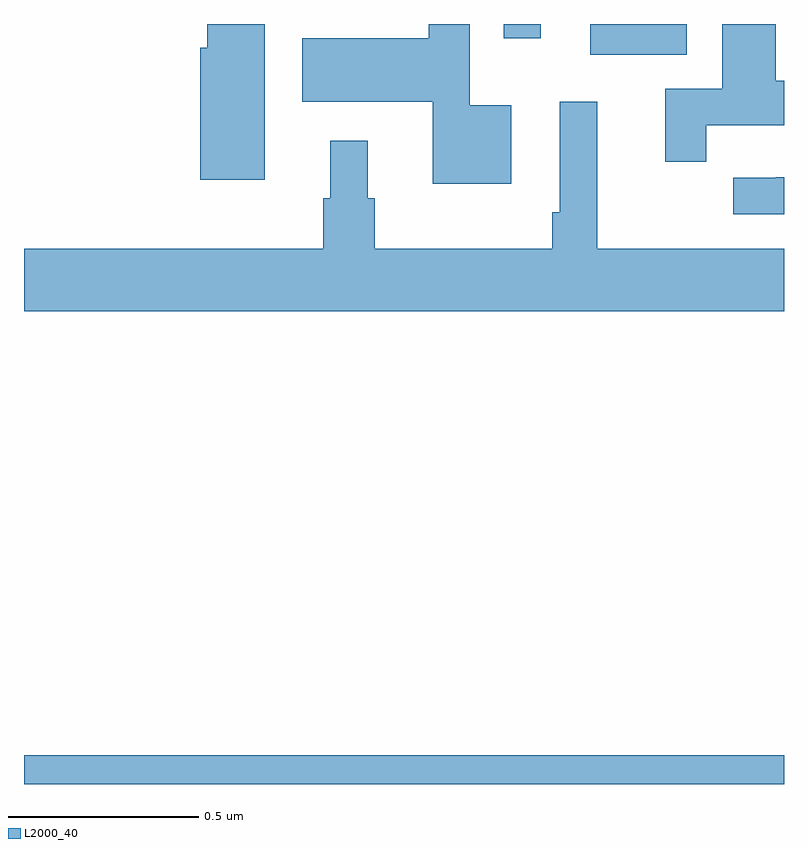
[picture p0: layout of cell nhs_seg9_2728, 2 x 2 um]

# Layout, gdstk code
import gdstk
lib = gdstk.Library(unit=1e-6, precision=1e-09)
def R(c, l, rs):  # rectangles x0, y0, x1, y1
    for r in rs: c.add(gdstk.rectangle(r[:2], r[2:], *l))
def P(c, l, *ps):  # polygons
    for p in ps: c.add(gdstk.Polygon(p, *l))
L2000_40 = (2000, 40)

nhs_seg9_2728 = lib.new_cell('nhs_seg9_2728')
R(nhs_seg9_2728, L2000_40, [(144,1204.5,146,1204.576), (145.49,1206.419,145.744,1206.5), (145.263,1206.462,145.36,1206.5)])
P(nhs_seg9_2728, L2000_40, [(144.634,1206.5),(144.482,1206.5),(144.482,1206.438),(144.464,1206.438),(144.464,1206.09),(144.634,1206.09)],
  [(145.796,1206.234),(146,1206.234),(146,1206.351),(145.978,1206.351),(145.978,1206.5),(145.838,1206.5),(145.838,1206.33),(145.688,1206.33),(145.688,1206.138),(145.796,1206.138)],
  [(145.282,1206.286),(145.173,1206.286),(145.173,1206.5),(145.065,1206.5),(145.065,1206.462),(144.732,1206.462),(144.732,1206.296),(145.076,1206.296),(145.076,1206.08),(145.282,1206.08)],
  [(146,1205.908),(145.508,1205.908),(145.508,1206.295),(145.41,1206.295),(145.41,1206.004),(145.39,1206.004),(145.39,1205.908),(144.923,1205.908),(144.923,1206.042),(144.904,1206.042),(144.904,1206.193),(144.806,1206.193),(144.806,1206.042),(144.787,1206.042),(144.787,1205.908),(144,1205.908),(144,1205.744),(146,1205.744)],
  [(146,1206.097),(145.978,1206.097),(145.978,1206.096),(145.866,1206.096),(145.866,1206),(146,1206)])

lib.write_gds('nhs_seg9_2728.gds')
